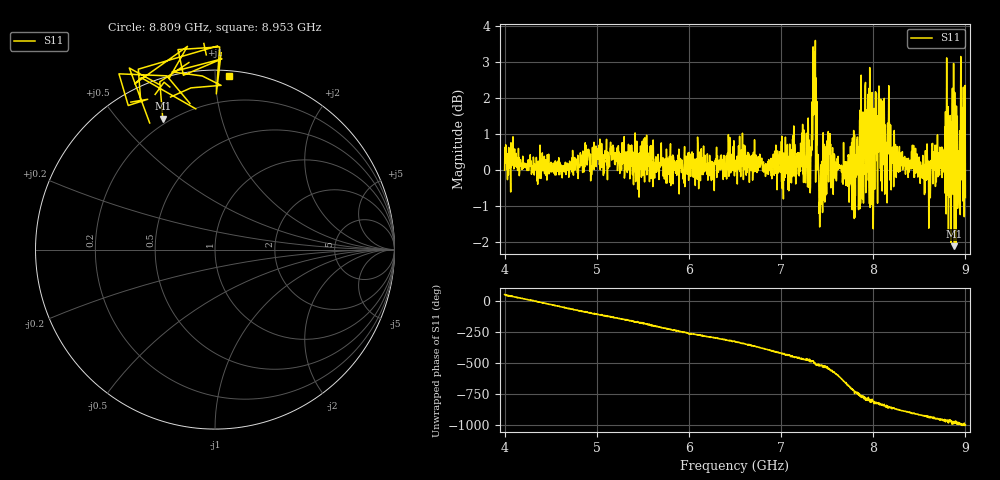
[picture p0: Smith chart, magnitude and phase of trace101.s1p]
! Created with skrf 1.8.0 (http://scikit-rf.org).
# Hz S RI R 50.0
!freq ReS11 ImS11
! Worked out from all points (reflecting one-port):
!   1601 points, 4 GHz to 9 GHz, reference 50 ohm
!   lowest |S11| = -2.1 dB at 8.881 GHz (marker M1), VSWR 8.29, Z = 8.75 + j33.2 ohm
!   phase of S11 starts at 54 deg and turns -1050 deg over the sweep
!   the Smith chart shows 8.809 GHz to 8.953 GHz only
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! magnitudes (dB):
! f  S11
! 4 GHz  0.0
! 4.625 GHz  -0.2
! 5.25 GHz  -0.1
! 5.875 GHz  -0.1
! 6.5 GHz  0.1
! 7.038 GHz  0.2
! 7.125 GHz  0.9
! 7.309 GHz  -0.2
! 7.362 GHz  3.3
! 7.381 GHz  2.6
! 7.4 GHz  0.4
! 7.428 GHz  -0.2
! 7.512 GHz  1.1
! 7.75 GHz  -0.1
! 7.881 GHz  1.0
! 7.928 GHz  1.7
! 8.022 GHz  0.6
! 8.05 GHz  1.5
! 8.375 GHz  0.2
! 8.597 GHz  0.2
! 8.656 GHz  0.5
! 8.766 GHz  0.5
! 8.788 GHz  -1.0
! 8.841 GHz  1.0
! 8.881 GHz  -2.1
! 8.919 GHz  -0.8
! 8.972 GHz  -0.1
! 9 GHz  -0.8
